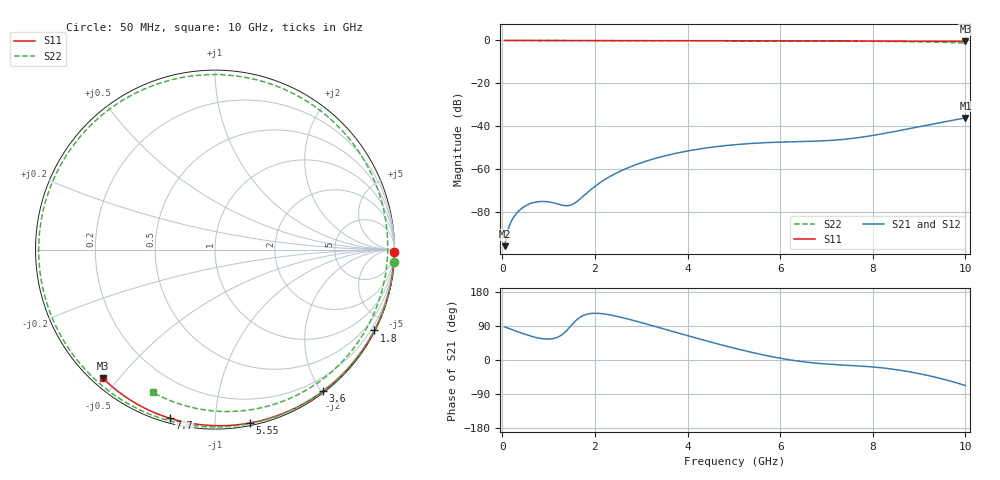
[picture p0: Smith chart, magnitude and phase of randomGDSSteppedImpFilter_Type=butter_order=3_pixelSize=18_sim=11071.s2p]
! freq	dB(S11)	phase(S11)	dB(S12)	phase(S12)
!  dB(S21)	phase(S21)	dB(S22)	phase(S22)
!S-par simulation data
#  GHz  S  DB  R 50
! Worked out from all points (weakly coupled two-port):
!   200 points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, 50 MHz to 10 GHz, reference 50 ohm
!   highest |S21| = -36.16 dB at 10 GHz (marker M1); lowest = -96.0 dB at 50 MHz (marker M2)
!   lowest |S11| = -0.4 dB at 10 GHz (marker M3), VSWR 39.10, Z = 1.54 - j22.7 ohm
!   |S11| at or under -10 dB: nowhere
!   |S22| runs from -1.2 to 0.0 dB; largest |S21 - S12| = 0
!   S11 on the Smith chart (normalised r, x): 50 MHz: open; 1.8 GHz: 0.04, -4.18; 3.6 GHz: 0.02, -2.02; 5.55 GHz: 0.02, -1.22; 7.7 GHz: 0.02, -0.77; 10 GHz: 0.03, -0.45
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0.05  -0.00 -0.8  -95.99 87.6  -95.99 87.6  -0.00 -4.1
0.4  -0.01 -6.1  -78.72 71.7  -78.72 71.7  -0.05 -32.2
0.6  -0.01 -9.1  -76.12 63.7  -76.12 63.7  -0.06 -47.7
0.9  -0.02 -13.5  -75.14 55.8  -75.14 55.8  -0.08 -69.8
1.45  -0.03 -21.7  -77.00 85.7  -77.00 85.7  -0.11 -106.1
1.75  -0.03 -26.1  -72.63 117.5  -72.63 117.5  -0.12 -123.6
1.8  -0.03 -26.9  -71.67 119.8  -71.67 119.8  -0.13 -126.4
2.15  -0.04 -32.0  -65.81 122.3  -65.81 122.3  -0.14 -144.9
2.55  -0.05 -37.8  -60.98 113.1  -60.98 113.1  -0.15 -164.4
3.4  -0.07 -49.8  -54.46 85.1  -54.46 85.1  -0.17 158.1
3.6  -0.07 -52.6  -53.38 78.1  -53.38 78.1  -0.17 149.8
4.35  -0.09 -62.8  -50.33 52.4  -50.33 52.4  -0.19 119.4
5.05  -0.11 -72.1  -48.59 30.0  -48.59 30.0  -0.22 91.6
5.55  -0.13 -78.5  -47.84 15.7  -47.84 15.7  -0.23 71.8
6.1  -0.15 -85.5  -47.38 2.5  -47.38 2.5  -0.25 50.1
6.7  -0.18 -92.9  -47.03 -7.5  -47.03 -7.5  -0.28 26.7
7.2  -0.21 -98.9  -46.47 -12.2  -46.47 -12.2  -0.32 7.3
7.7  -0.24 -104.8  -45.32 -15.6  -45.32 -15.6  -0.37 -11.9
8.35  -0.29 -112.4  -42.98 -22.9  -42.98 -22.9  -0.47 -37.1
9.25  -0.37 -122.7  -39.21 -42.5  -39.21 -42.5  -0.75 -74.4
9.65  -0.41 -127.2  -37.55 -54.7  -37.55 -54.7  -0.96 -93.7
10  -0.44 -131.2  -36.16 -67.4  -36.16 -67.4  -1.23 -113.6
